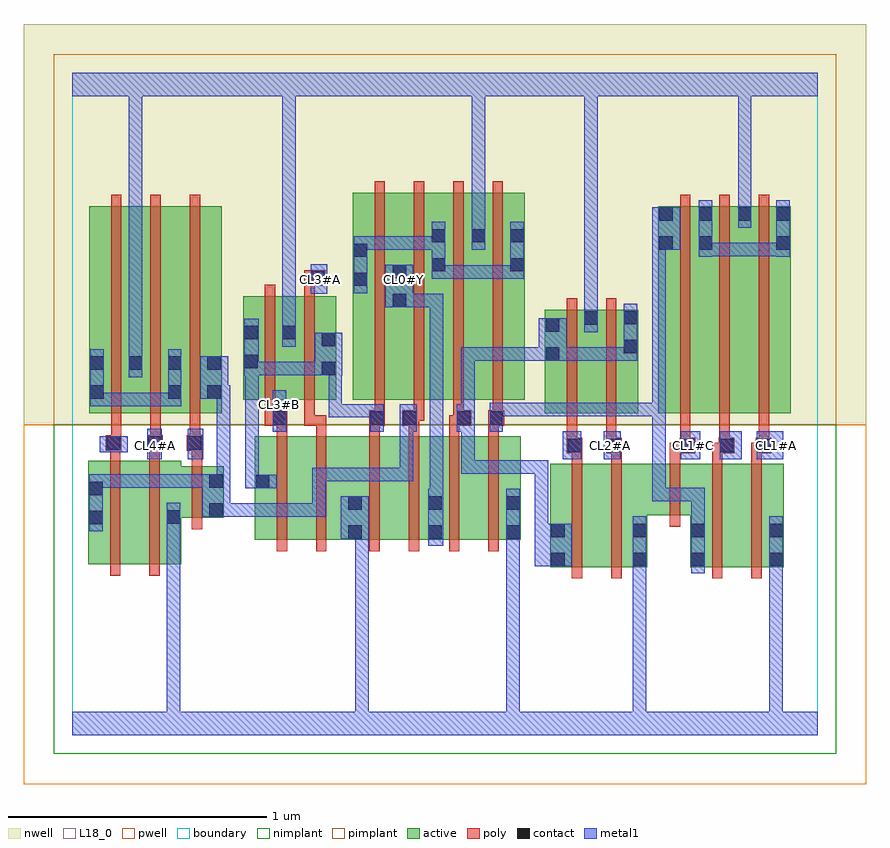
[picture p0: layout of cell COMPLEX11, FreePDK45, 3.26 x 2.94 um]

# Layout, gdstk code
import gdstk
lib = gdstk.Library(unit=1e-6, precision=1e-09)
def R(c, l, rs):  # rectangles x0, y0, x1, y1
    for r in rs: c.add(gdstk.rectangle(r[:2], r[2:], *l))
def A(c, l, x, y, w, h, nx, ny, dx, dy):  # array of equal rectangles
    R(c, l, [(x+i*dx, y+j*dy, x+i*dx+w, y+j*dy+h) for i in range(nx) for j in range(ny)])
active = (1, 0)
pwell = (2, 0)
nwell = (3, 0)
nimplant = (4, 0)
pimplant = (5, 0)
poly = (9, 0)
contact = (10, 0)
metal1 = (11, 0)
L18_0 = (18, 0)
boundary = (235, 0)

complex11 = lib.new_cell('COMPLEX11')
R(complex11, active, [(1.846,0.65,1.906,1.05), (1.846,0.65,2.026,1.05), (2.026,0.65,2.222,1.05), (2.162,0.65,2.222,0.85), (2.388,0.65,2.568,1.05), (2.388,0.65,2.448,0.85), (2.568,0.65,2.748,1.05), (2.688,0.65,2.748,1.05), (0.062,0.66,0.242,1.06), (0.242,0.66,0.422,1.06), (0.062,0.756,0.122,1.06), (0.706,0.756,0.766,1.156), (0.706,0.756,0.886,1.156), (0.886,0.756,1.122,1.156), (1.062,0.756,1.122,1.156), (1.062,0.756,1.244,1.156), (1.244,0.756,1.432,1.156), (1.372,0.756,1.552,1.156), (1.372,0.756,1.432,0.928), (1.552,0.756,1.732,1.156), (1.672,0.756,1.732,1.156), (0.362,0.814,0.422,0.874), (0.362,0.84,0.586,1.04), (0.526,0.84,0.586,1.04), (2.162,0.85,2.448,1.05), (0.066,1.244,0.126,2.044), (0.066,1.244,0.274,2.044), (0.214,1.244,0.426,2.044), (0.366,1.244,0.578,2.044), (0.518,1.244,0.578,2.044), (1.826,1.244,1.886,1.644), (1.826,1.244,2.034,1.644), (1.974,1.244,2.034,1.644), (1.974,1.244,2.186,1.644), (2.126,1.244,2.186,1.644), (2.264,1.244,2.324,2.044), (2.264,1.244,2.476,2.044), (2.416,1.244,2.628,2.044), (2.568,1.244,2.776,2.044), (2.716,1.244,2.776,2.044), (0.366,1.296,0.426,2.044), (0.66,1.296,0.72,1.696), (0.66,1.296,0.868,1.696), (0.808,1.296,1.02,1.696), (0.808,1.296,0.868,1.644), (0.96,1.296,1.02,1.644), (1.084,1.296,1.144,2.096), (1.084,1.296,1.294,2.096), (1.234,1.296,1.444,2.096), (1.384,1.296,1.6,2.096), (1.54,1.296,1.748,2.096), (1.688,1.296,1.748,2.044), (0.214,1.408,0.274,2.044), (1.234,1.65,1.294,2.044), (1.384,1.686,1.444,2.096), (1.54,1.686,1.6,2.096), (2.416,1.686,2.476,2.044), (2.568,1.686,2.628,2.044)])
R(complex11, pwell, [(-0.188,-0.188,3.068,1.2)])
R(complex11, nwell, [(-0.188,1.2,3.068,2.748)])
R(complex11, nimplant, [(-0.072,-0.072,2.952,1.2)])
R(complex11, pimplant, [(-0.072,1.2,2.952,2.632)])
A(complex11, poly, 2.348, 1.11, 0.04, 0.13, 3, 1, 0.152, 0)
A(complex11, poly, 0.15, 1.12, 0.04, 0.12, 3, 1, 0.152, 0)
A(complex11, poly, 0.15, 1.2, 0.04, 0.888, 3, 1, 0.152, 0)
A(complex11, poly, 2.348, 1.2, 0.04, 0.888, 3, 1, 0.152, 0)
A(complex11, poly, 1.168, 1.216, 0.04, 0.076, 4, 1, 0.152, 0)
A(complex11, poly, 1.168, 1.252, 0.04, 0.888, 4, 1, 0.152, 0)
R(complex11, poly, [(1.93,0.606,1.97,1.094), (2.082,0.606,2.122,1.094), (2.472,0.606,2.512,1.094), (2.624,0.606,2.664,1.094), (0.146,0.616,0.186,1.104), (0.298,0.616,0.338,1.104), (0.79,0.712,0.83,1.2), (0.942,0.712,0.982,1.2), (1.148,0.712,1.188,1.2), (1.3,0.712,1.34,1.2), (1.456,0.712,1.496,1.2), (1.608,0.712,1.648,1.2), (0.462,0.796,0.502,1.084), (2.308,0.806,2.348,1.094), (0.462,1.044,0.502,1.14), (1.93,1.054,1.97,1.13), (2.082,1.054,2.122,1.13), (2.308,1.054,2.348,1.13), (2.472,1.054,2.512,1.13), (2.624,1.054,2.664,1.13), (0.146,1.064,0.186,1.14), (0.298,1.064,0.338,1.14), (1.91,1.09,1.97,1.15), (2.062,1.09,2.122,1.15), (2.308,1.09,2.386,1.13), (2.346,1.09,2.386,1.13), (2.346,1.09,2.406,1.15), (2.472,1.09,2.538,1.13), (2.498,1.09,2.538,1.13), (2.498,1.09,2.558,1.15), (2.624,1.09,2.68,1.13), (2.64,1.09,2.68,1.13), (2.64,1.09,2.7,1.15), (0.13,1.1,0.19,1.16), (0.146,1.1,0.186,1.14), (0.146,1.1,0.186,1.14), (0.29,1.1,0.35,1.16), (0.298,1.1,0.338,1.14), (0.298,1.1,0.338,1.14), (0.442,1.1,0.502,1.16), (1.91,1.11,1.95,1.24), (1.91,1.11,1.95,1.15), (1.91,1.11,1.95,1.15), (2.062,1.11,2.102,1.24), (2.062,1.11,2.102,1.15), (2.062,1.11,2.102,1.15), (0.454,1.12,0.494,1.16), (0.454,1.12,0.494,1.16), (0.79,1.16,0.83,1.236), (0.942,1.16,0.982,1.236), (1.148,1.16,1.188,1.236), (1.3,1.16,1.34,1.236), (1.456,1.16,1.496,1.236), (1.608,1.16,1.648,1.236), (0.744,1.196,0.83,1.256), (0.79,1.196,0.83,1.236), (0.79,1.196,0.83,1.236), (0.896,1.196,0.936,1.292), (0.896,1.196,0.948,1.236), (0.908,1.196,0.948,1.236), (0.908,1.196,0.982,1.236), (1.148,1.196,1.188,1.236), (1.148,1.196,1.188,1.236), (1.148,1.196,1.208,1.256), (1.274,1.196,1.34,1.256), (1.456,1.196,1.512,1.236), (1.472,1.196,1.512,1.236), (1.472,1.196,1.542,1.256), (1.608,1.196,1.648,1.236), (1.608,1.196,1.648,1.236), (1.608,1.196,1.668,1.256), (1.91,1.2,1.95,1.688), (2.062,1.2,2.102,1.688), (0.744,1.216,0.784,1.292), (1.3,1.216,1.34,1.256), (1.3,1.216,1.36,1.256), (0.744,1.252,0.784,1.74), (0.896,1.252,0.936,1.74), (0.896,1.7,0.936,1.776), (0.896,1.736,0.978,1.796)])
A(complex11, contact, 0.218, 1.412, 0.052, 0.052, 3, 1, 0.152, 0)
A(complex11, contact, 2.268, 1.988, 0.052, 0.052, 3, 1, 0.152, 0)
R(complex11, contact, [(1.85,0.654,1.902,0.706), (2.166,0.654,2.218,0.706), (2.392,0.654,2.444,0.706), (2.692,0.654,2.744,0.706), (1.066,0.76,1.118,0.812), (1.376,0.76,1.428,0.812), (1.676,0.76,1.728,0.812), (1.85,0.766,1.902,0.818), (2.166,0.766,2.218,0.818), (2.392,0.766,2.444,0.818), (2.692,0.766,2.744,0.818), (0.066,0.816,0.118,0.868), (0.366,0.818,0.418,0.87), (0.53,0.844,0.582,0.896), (1.066,0.872,1.118,0.924), (1.376,0.872,1.428,0.924), (1.676,0.872,1.728,0.924), (0.066,0.928,0.118,0.98), (0.71,0.954,0.762,1.006), (0.53,0.956,0.582,1.008), (1.914,1.094,1.966,1.146), (2.066,1.094,2.118,1.146), (2.35,1.094,2.402,1.146), (2.502,1.094,2.554,1.146), (2.644,1.094,2.696,1.146), (0.134,1.104,0.186,1.156), (0.294,1.104,0.346,1.156), (0.446,1.104,0.498,1.156), (0.774,1.2,0.826,1.252), (1.152,1.2,1.204,1.252), (1.278,1.2,1.33,1.252), (1.486,1.2,1.538,1.252), (1.612,1.2,1.664,1.252), (0.07,1.3,0.122,1.352), (0.37,1.3,0.422,1.352), (0.522,1.3,0.574,1.352), (0.964,1.392,1.016,1.444), (0.07,1.412,0.122,1.464), (0.664,1.418,0.716,1.47), (1.83,1.448,1.882,1.5), (2.13,1.476,2.182,1.528), (0.964,1.504,1.016,1.556), (0.664,1.53,0.716,1.582), (0.812,1.53,0.864,1.582), (1.83,1.56,1.882,1.612), (1.978,1.586,2.03,1.638), (2.13,1.588,2.182,1.64), (1.238,1.654,1.29,1.706), (1.088,1.736,1.14,1.788), (0.922,1.74,0.974,1.792), (1.238,1.766,1.29,1.818), (1.388,1.792,1.44,1.844), (1.692,1.792,1.744,1.844), (1.088,1.848,1.14,1.9), (2.268,1.876,2.32,1.928), (2.42,1.876,2.472,1.928), (2.72,1.876,2.772,1.928), (1.388,1.904,1.44,1.956), (1.544,1.904,1.596,1.956), (1.692,1.904,1.744,1.956), (2.72,1.988,2.772,2.04)])
R(complex11, metal1, [(0,0,2.88,0.092), (0.366,0.04,0.418,0.092), (0.366,0.04,0.418,0.092), (0.366,0.04,0.418,0.092), (0.366,0.04,0.418,0.092), (0.366,0.04,0.418,0.842), (1.094,0.04,1.146,0.092), (1.094,0.04,1.146,0.092), (1.094,0.04,1.146,0.092), (1.094,0.04,1.146,0.092), (1.094,0.04,1.146,0.092), (1.094,0.04,1.146,0.092), (1.094,0.04,1.146,0.092), (1.094,0.04,1.146,0.092), (1.094,0.04,1.146,0.092), (1.094,0.04,1.146,0.092), (1.094,0.04,1.146,0.812), (1.676,0.04,1.728,0.092), (1.676,0.04,1.728,0.092), (1.676,0.04,1.728,0.092), (1.676,0.04,1.728,0.092), (1.676,0.04,1.728,0.092), (1.676,0.04,1.728,0.092), (1.676,0.04,1.728,0.092), (1.676,0.04,1.728,0.092), (1.676,0.04,1.728,0.092), (1.676,0.04,1.728,0.092), (1.676,0.04,1.728,0.092), (1.676,0.04,1.728,0.092), (1.676,0.04,1.728,0.784), (2.166,0.04,2.218,0.092), (2.166,0.04,2.218,0.092), (2.166,0.04,2.218,0.092), (2.166,0.04,2.218,0.092), (2.166,0.04,2.218,0.092), (2.166,0.04,2.218,0.092), (2.166,0.04,2.218,0.092), (2.166,0.04,2.218,0.092), (2.166,0.04,2.218,0.092), (2.166,0.04,2.218,0.092), (2.166,0.04,2.218,0.092), (2.166,0.04,2.218,0.092), (2.166,0.04,2.218,0.678), (2.692,0.04,2.744,0.092), (2.692,0.04,2.744,0.092), (2.692,0.04,2.744,0.092), (2.692,0.04,2.744,0.092), (2.692,0.04,2.744,0.092), (2.692,0.04,2.744,0.092), (2.692,0.04,2.744,0.092), (2.692,0.04,2.744,0.092), (2.692,0.04,2.744,0.092), (2.692,0.04,2.744,0.092), (2.692,0.04,2.744,0.092), (2.692,0.04,2.744,0.092), (2.692,0.04,2.744,0.678), (2.166,0.626,2.218,0.846), (2.392,0.626,2.444,0.846), (2.692,0.626,2.744,0.846), (1.786,0.654,1.93,0.818), (1.376,0.732,1.434,0.952), (1.676,0.732,1.728,0.952), (1.038,0.76,1.146,0.924), (1.094,0.76,1.146,0.812), (1.094,0.76,1.146,0.812), (1.786,0.766,1.838,1.062), (0.066,0.788,0.118,1.008), (0.366,0.79,0.418,0.842), (0.366,0.79,0.418,0.842), (0.366,0.79,0.418,0.842), (0.366,0.79,0.418,0.842), (0.366,0.79,0.418,0.842), (0.366,0.79,0.418,0.842), (0.366,0.79,0.418,0.842), (0.366,0.79,0.418,0.842), (0.366,0.79,0.418,0.898), (2.392,0.794,2.444,0.956), (0.502,0.844,0.61,1.008), (0.558,0.844,0.61,0.896), (0.558,0.844,0.61,0.896), (0.558,0.844,0.72,0.896), (0.668,0.844,0.72,0.896), (0.668,0.844,0.72,0.896), (0.668,0.844,0.72,0.896), (0.668,0.844,0.87,0.896), (0.818,0.844,0.87,0.896), (0.818,0.844,0.98,0.896), (0.928,0.844,0.98,1.034), (1.382,0.9,1.434,0.952), (1.382,0.9,1.434,0.952), (1.382,0.9,1.434,1.706), (2.24,0.904,2.292,0.956), (2.24,0.904,2.444,0.956), (2.24,0.904,2.292,1.284), (2.392,0.904,2.444,0.956), (2.392,0.904,2.444,0.956), (2.392,0.904,2.444,0.956), (0.668,0.954,0.72,1.442), (0.668,0.954,0.734,1.006), (0.682,0.954,0.734,1.006), (0.682,0.954,0.79,1.006), (0.066,0.956,0.118,1.008), (0.066,0.956,0.118,1.008), (0.066,0.956,0.308,1.008), (0.256,0.956,0.308,1.008), (0.256,0.956,0.308,1.008), (0.256,0.956,0.308,1.008), (0.256,0.956,0.436,1.008), (0.384,0.956,0.436,1.008), (0.384,0.956,0.436,1.008), (0.384,0.956,0.436,1.008), (0.384,0.956,0.554,1.008), (0.558,0.956,0.61,1.008), (0.558,0.956,0.61,1.008), (0.558,0.956,0.61,1.352), (0.928,0.982,0.98,1.034), (0.928,0.982,0.98,1.034), (0.928,0.982,1.152,1.034), (1.1,0.982,1.152,1.034), (1.1,0.982,1.152,1.034), (1.1,0.982,1.152,1.034), (1.1,0.982,1.152,1.034), (1.1,0.982,1.152,1.034), (1.1,0.982,1.318,1.034), (1.266,0.982,1.318,1.034), (1.266,0.982,1.318,1.224), (1.502,1.01,1.554,1.062), (1.502,1.01,1.728,1.062), (1.502,1.01,1.554,1.224), (1.676,1.01,1.728,1.062), (1.676,1.01,1.728,1.062), (1.676,1.01,1.728,1.062), (1.676,1.01,1.838,1.062), (1.786,1.01,1.838,1.062), (0.29,1.066,0.346,1.184), (0.446,1.066,0.506,1.184), (1.894,1.066,1.966,1.174), (2.054,1.066,2.118,1.174), (2.35,1.066,2.426,1.174), (2.502,1.066,2.586,1.174), (2.644,1.066,2.746,1.174), (0.106,1.094,0.214,1.156), (0.774,1.172,0.826,1.334), (1.152,1.172,1.204,1.28), (1.266,1.172,1.318,1.224), (1.266,1.172,1.318,1.224), (1.266,1.172,1.33,1.28), (1.486,1.172,1.538,1.28), (1.486,1.172,1.554,1.224), (1.502,1.172,1.554,1.224), (1.502,1.172,1.554,1.5), (1.612,1.172,1.664,1.28), (0.99,1.228,1.042,1.28), (0.99,1.228,1.09,1.28), (0.99,1.228,1.042,1.444), (1.038,1.228,1.09,1.28), (1.038,1.228,1.204,1.28), (1.612,1.228,1.664,1.28), (1.612,1.228,1.664,1.284), (1.612,1.232,1.866,1.284), (1.814,1.232,1.866,1.284), (1.814,1.232,1.866,1.284), (1.814,1.232,1.866,1.284), (1.814,1.232,2.072,1.284), (2.02,1.232,2.072,1.284), (2.02,1.232,2.072,1.284), (2.02,1.232,2.072,1.284), (2.02,1.232,2.292,1.284), (2.24,1.232,2.292,1.284), (2.24,1.232,2.292,1.284), (2.24,1.232,2.292,1.284), (2.24,1.232,2.292,1.928), (0.07,1.272,0.122,1.324), (0.07,1.272,0.122,1.324), (0.07,1.272,0.122,1.492), (0.07,1.272,0.292,1.324), (0.24,1.272,0.292,1.324), (0.24,1.272,0.292,1.324), (0.24,1.272,0.292,1.324), (0.24,1.272,0.422,1.324), (0.37,1.272,0.422,1.492), (0.494,1.3,0.602,1.464), (0.55,1.3,0.602,1.352), (0.55,1.3,0.61,1.352), (0.218,1.384,0.27,1.492), (0.664,1.39,0.72,1.61), (0.668,1.39,0.72,1.442), (0.668,1.39,0.72,1.442), (0.668,1.392,0.72,1.444), (0.668,1.392,0.72,1.444), (0.668,1.392,0.87,1.444), (0.818,1.392,0.87,1.444), (0.818,1.392,0.87,1.444), (0.818,1.392,0.87,1.444), (0.818,1.392,0.988,1.444), (0.936,1.392,1.044,1.556), (0.218,1.44,0.27,1.492), (0.218,1.44,0.27,1.492), (0.218,1.44,0.27,1.492), (0.218,1.44,0.27,1.492), (0.218,1.44,0.27,1.492), (0.218,1.44,0.27,1.492), (0.218,1.44,0.27,1.492), (0.218,1.44,0.27,1.492), (0.218,1.44,0.27,2.52), (1.502,1.448,1.554,1.5), (1.502,1.448,1.728,1.5), (1.676,1.448,1.728,1.5), (1.676,1.448,1.728,1.5), (1.676,1.448,1.728,1.5), (1.676,1.448,1.854,1.5), (1.802,1.448,1.91,1.612), (1.858,1.448,1.91,1.5), (1.858,1.448,1.91,1.5), (1.858,1.448,2.072,1.5), (2.02,1.448,2.072,1.5), (2.02,1.448,2.182,1.5), (2.13,1.448,2.182,1.5), (2.13,1.448,2.182,1.5), (2.13,1.448,2.182,1.668), (0.812,1.502,0.864,1.61), (0.812,1.558,0.864,1.61), (0.812,1.558,0.864,1.61), (0.812,1.558,0.864,1.61), (0.812,1.558,0.864,1.61), (0.812,1.558,0.864,2.52), (1.978,1.558,2.03,1.666), (1.978,1.614,2.03,1.666), (1.978,1.614,2.03,1.666), (1.978,1.614,2.03,2.52), (1.21,1.654,1.318,1.818), (1.266,1.654,1.318,1.706), (1.266,1.654,1.318,1.706), (1.266,1.654,1.434,1.706), (1.382,1.654,1.434,1.706), (1.382,1.654,1.434,1.706), (1.382,1.654,1.434,1.706), (1.382,1.654,1.434,1.706), (1.382,1.654,1.434,1.706), (1.382,1.654,1.434,1.706), (1.382,1.654,1.434,1.706), (1.382,1.654,1.434,1.706), (1.382,1.654,1.434,1.706), (0.922,1.706,0.986,1.82), (1.088,1.708,1.14,1.928), (1.388,1.764,1.44,1.816), (1.388,1.764,1.44,1.816), (1.388,1.764,1.44,1.984), (1.388,1.764,1.55,1.816), (1.498,1.764,1.55,1.816), (1.498,1.764,1.55,1.816), (1.498,1.764,1.55,1.816), (1.498,1.764,1.728,1.816), (1.676,1.764,1.728,1.816), (1.676,1.764,1.744,1.816), (1.692,1.764,1.744,1.984), (2.42,1.848,2.472,2.068), (2.72,1.848,2.772,2.068), (2.42,1.85,2.582,1.902), (2.53,1.85,2.582,1.902), (2.53,1.85,2.582,1.902), (2.53,1.85,2.582,1.902), (2.53,1.85,2.772,1.902), (2.72,1.85,2.772,1.902), (2.72,1.85,2.772,1.902), (1.088,1.876,1.208,1.928), (1.156,1.876,1.208,1.928), (1.156,1.876,1.318,1.928), (1.266,1.876,1.318,1.928), (1.266,1.876,1.318,1.928), (1.266,1.876,1.318,1.928), (1.266,1.876,1.44,1.928), (1.544,1.876,1.596,1.984), (2.24,1.876,2.348,2.04), (1.544,1.932,1.596,1.984), (1.544,1.932,1.596,1.984), (1.544,1.932,1.596,1.984), (1.544,1.932,1.596,1.984), (1.544,1.932,1.596,1.984), (1.544,1.932,1.596,1.984), (1.544,1.932,1.596,1.984), (1.544,1.932,1.596,1.984), (1.544,1.932,1.596,2.52), (2.572,1.96,2.624,2.068), (2.572,2.016,2.624,2.068), (2.572,2.016,2.624,2.068), (2.572,2.016,2.624,2.068), (2.572,2.016,2.624,2.068), (2.572,2.016,2.624,2.52), (0,2.468,2.88,2.56), (0.812,2.468,0.864,2.52), (0.812,2.468,0.864,2.52), (0.812,2.468,0.864,2.52), (0.812,2.468,0.864,2.52), (0.812,2.468,0.864,2.52), (0.812,2.468,0.864,2.52), (0.812,2.468,0.864,2.52), (0.812,2.468,0.864,2.52), (0.812,2.468,0.864,2.52), (0.812,2.468,0.864,2.52), (0.812,2.468,0.864,2.52), (0.812,2.468,0.864,2.52), (1.978,2.468,2.03,2.52), (1.978,2.468,2.03,2.52), (1.978,2.468,2.03,2.52), (1.978,2.468,2.03,2.52), (1.978,2.468,2.03,2.52), (1.978,2.468,2.03,2.52), (1.978,2.468,2.03,2.52), (1.978,2.468,2.03,2.52), (1.978,2.468,2.03,2.52), (1.978,2.468,2.03,2.52), (1.978,2.468,2.03,2.52), (1.978,2.468,2.03,2.52), (1.978,2.468,2.03,2.52), (1.978,2.468,2.03,2.52), (2.572,2.468,2.624,2.52), (2.572,2.468,2.624,2.52), (2.572,2.468,2.624,2.52), (2.572,2.468,2.624,2.52)])
A(complex11, L18_0, 0.134, 1.094, 0.052, 0.052, 3, 1, 0.16, 0)
A(complex11, L18_0, 2.374, 1.094, 0.052, 0.052, 3, 1, 0.16, 0)
R(complex11, L18_0, [(0,0,2.88,0.092), (0.366,0.04,0.418,0.092), (0.366,0.04,0.418,0.092), (0.366,0.04,0.418,0.092), (0.366,0.04,0.418,0.092), (0.366,0.04,0.418,0.842), (1.094,0.04,1.146,0.092), (1.094,0.04,1.146,0.092), (1.094,0.04,1.146,0.092), (1.094,0.04,1.146,0.092), (1.094,0.04,1.146,0.092), (1.094,0.04,1.146,0.092), (1.094,0.04,1.146,0.092), (1.094,0.04,1.146,0.092), (1.094,0.04,1.146,0.092), (1.094,0.04,1.146,0.092), (1.094,0.04,1.146,0.812), (1.676,0.04,1.728,0.092), (1.676,0.04,1.728,0.092), (1.676,0.04,1.728,0.092), (1.676,0.04,1.728,0.092), (1.676,0.04,1.728,0.092), (1.676,0.04,1.728,0.092), (1.676,0.04,1.728,0.092), (1.676,0.04,1.728,0.092), (1.676,0.04,1.728,0.092), (1.676,0.04,1.728,0.092), (1.676,0.04,1.728,0.092), (1.676,0.04,1.728,0.092), (1.676,0.04,1.728,0.784), (2.166,0.04,2.218,0.092), (2.166,0.04,2.218,0.092), (2.166,0.04,2.218,0.092), (2.166,0.04,2.218,0.092), (2.166,0.04,2.218,0.092), (2.166,0.04,2.218,0.092), (2.166,0.04,2.218,0.092), (2.166,0.04,2.218,0.092), (2.166,0.04,2.218,0.092), (2.166,0.04,2.218,0.092), (2.166,0.04,2.218,0.092), (2.166,0.04,2.218,0.092), (2.166,0.04,2.218,0.678), (2.692,0.04,2.744,0.092), (2.692,0.04,2.744,0.092), (2.692,0.04,2.744,0.092), (2.692,0.04,2.744,0.092), (2.692,0.04,2.744,0.092), (2.692,0.04,2.744,0.092), (2.692,0.04,2.744,0.092), (2.692,0.04,2.744,0.092), (2.692,0.04,2.744,0.092), (2.692,0.04,2.744,0.092), (2.692,0.04,2.744,0.092), (2.692,0.04,2.744,0.092), (2.692,0.04,2.744,0.678), (2.166,0.626,2.218,0.846), (2.692,0.626,2.744,0.846), (1.376,0.732,1.434,0.952), (1.676,0.732,1.728,0.952), (1.038,0.76,1.146,0.924), (1.094,0.76,1.146,0.812), (1.094,0.76,1.146,0.812), (0.366,0.79,0.418,0.898), (0.366,0.79,0.418,0.842), (0.366,0.79,0.418,0.842), (0.366,0.79,0.418,0.842), (0.366,0.79,0.418,0.842), (0.366,0.79,0.418,0.842), (0.366,0.79,0.418,0.842), (0.366,0.79,0.418,0.842), (0.366,0.79,0.418,0.842), (1.382,0.9,1.434,0.952), (1.382,0.9,1.434,0.952), (1.382,0.9,1.434,1.706), (0.29,1.066,0.346,1.184), (0.446,1.066,0.506,1.184), (1.894,1.066,1.966,1.174), (2.054,1.066,2.118,1.174), (2.35,1.066,2.426,1.174), (2.502,1.066,2.586,1.174), (2.644,1.066,2.746,1.174), (0.106,1.094,0.214,1.156), (1.894,1.094,1.946,1.146), (2.054,1.094,2.106,1.146), (0.774,1.172,0.826,1.334), (0.774,1.254,0.826,1.306), (0.218,1.384,0.27,1.492), (0.218,1.44,0.27,1.492), (0.218,1.44,0.27,1.492), (0.218,1.44,0.27,1.492), (0.218,1.44,0.27,1.492), (0.218,1.44,0.27,1.492), (0.218,1.44,0.27,1.492), (0.218,1.44,0.27,1.492), (0.218,1.44,0.27,1.492), (0.218,1.44,0.27,2.52), (0.812,1.502,0.864,1.61), (0.812,1.558,0.864,1.61), (0.812,1.558,0.864,1.61), (0.812,1.558,0.864,1.61), (0.812,1.558,0.864,1.61), (0.812,1.558,0.864,2.52), (1.978,1.558,2.03,1.666), (1.978,1.614,2.03,1.666), (1.978,1.614,2.03,1.666), (1.978,1.614,2.03,2.52), (1.21,1.654,1.318,1.818), (1.266,1.654,1.318,1.706), (1.266,1.654,1.318,1.706), (1.266,1.654,1.434,1.706), (1.382,1.654,1.434,1.706), (1.382,1.654,1.434,1.706), (1.382,1.654,1.434,1.706), (1.382,1.654,1.434,1.706), (1.382,1.654,1.434,1.706), (1.382,1.654,1.434,1.706), (1.382,1.654,1.434,1.706), (1.382,1.654,1.434,1.706), (1.382,1.654,1.434,1.706), (0.922,1.706,0.986,1.82), (0.934,1.734,0.986,1.786), (1.254,1.734,1.306,1.786), (1.544,1.876,1.596,1.984), (1.544,1.932,1.596,1.984), (1.544,1.932,1.596,1.984), (1.544,1.932,1.596,1.984), (1.544,1.932,1.596,1.984), (1.544,1.932,1.596,1.984), (1.544,1.932,1.596,1.984), (1.544,1.932,1.596,1.984), (1.544,1.932,1.596,1.984), (1.544,1.932,1.596,2.52), (2.572,1.96,2.624,2.068), (2.572,2.016,2.624,2.068), (2.572,2.016,2.624,2.068), (2.572,2.016,2.624,2.068), (2.572,2.016,2.624,2.068), (2.572,2.016,2.624,2.52), (0,2.468,2.88,2.56), (0.812,2.468,0.864,2.52), (0.812,2.468,0.864,2.52), (0.812,2.468,0.864,2.52), (0.812,2.468,0.864,2.52), (0.812,2.468,0.864,2.52), (0.812,2.468,0.864,2.52), (0.812,2.468,0.864,2.52), (0.812,2.468,0.864,2.52), (0.812,2.468,0.864,2.52), (0.812,2.468,0.864,2.52), (0.812,2.468,0.864,2.52), (0.812,2.468,0.864,2.52), (1.978,2.468,2.03,2.52), (1.978,2.468,2.03,2.52), (1.978,2.468,2.03,2.52), (1.978,2.468,2.03,2.52), (1.978,2.468,2.03,2.52), (1.978,2.468,2.03,2.52), (1.978,2.468,2.03,2.52), (1.978,2.468,2.03,2.52), (1.978,2.468,2.03,2.52), (1.978,2.468,2.03,2.52), (1.978,2.468,2.03,2.52), (1.978,2.468,2.03,2.52), (1.978,2.468,2.03,2.52), (1.978,2.468,2.03,2.52), (2.572,2.468,2.624,2.52), (2.572,2.468,2.624,2.52), (2.572,2.468,2.624,2.52), (2.572,2.468,2.624,2.52)])
R(complex11, boundary, [(0,0,2.88,2.56)])
complex11.add(gdstk.Label('CL0#Y', (1.28,1.76), layer=11, texttype=0))
complex11.add(gdstk.Label('CL1#A', (2.72,1.12), layer=11, texttype=0))
complex11.add(gdstk.Label('CL1#B', (2.56,1.12), layer=11, texttype=0))
complex11.add(gdstk.Label('CL1#C', (2.4,1.12), layer=11, texttype=0))
complex11.add(gdstk.Label('CL2#A', (2.08,1.12), layer=11, texttype=0))
complex11.add(gdstk.Label('CL2#B', (1.92,1.12), layer=11, texttype=0))
complex11.add(gdstk.Label('CL3#A', (0.96,1.76), layer=11, texttype=0))
complex11.add(gdstk.Label('CL3#B', (0.8,1.28), layer=11, texttype=0))
complex11.add(gdstk.Label('CL4#A', (0.32,1.12), layer=11, texttype=0))
complex11.add(gdstk.Label('CL4#B', (0.16,1.12), layer=11, texttype=0))
complex11.add(gdstk.Label('CL4#C', (0.48,1.12), layer=11, texttype=0))

lib.write_gds('COMPLEX11.gds')
